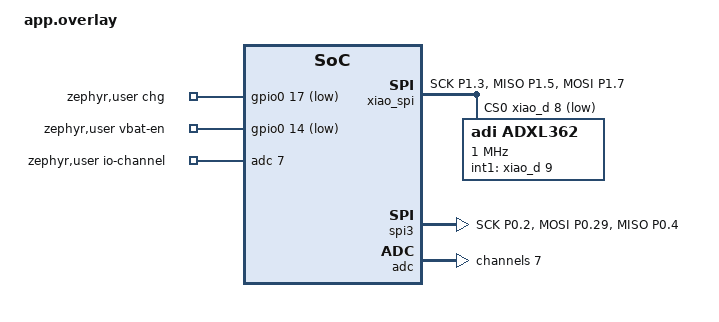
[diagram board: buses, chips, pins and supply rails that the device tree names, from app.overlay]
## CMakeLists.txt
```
cmake_minimum_required(VERSION 3.20.0)

if(NOT EXISTS ${CMAKE_CURRENT_LIST_DIR}/../common/keys.h)
  message(FATAL_ERROR "common/keys.h is missing: run scripts/gen_keys.py first")
endif()

# Flash through the XIAO's UF2 bootloader (double-tap reset first) instead of a J-Link.
# The board file expects the Sense bootloader ID; the XIAO nRF52840 Plus reports this one.
set(BOARD_FLASH_RUNNER uf2)
macro(app_set_runner_args)
  board_runner_args(uf2 "--board-id=nRF52840-SeeedXiao-v1")
endmacro()

find_package(Zephyr REQUIRED HINTS $ENV{ZEPHYR_BASE})
project(pke_fob)

target_sources(app PRIVATE
  src/main.c
  src/motion.c
  src/battery.c
  ../common/pke_crypto.c
  ../common/boot_led.c
)
target_include_directories(app PRIVATE ../common)
```

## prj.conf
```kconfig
CONFIG_LOG=y
CONFIG_MAIN_STACK_SIZE=4096

# ADXL362 motion switch on SPI, System OFF after 1 min at rest (motion.c)
CONFIG_SPI=y
CONFIG_GPIO=y
CONFIG_POWEROFF=y

# Battery voltage on AIN7 (battery.c)
CONFIG_ADC=y

# Bluetooth: connectable peripheral advertising with a rotating RPA (step 2)
CONFIG_BT=y
CONFIG_BT_PERIPHERAL=y
CONFIG_BT_DEVICE_NAME="PKE fob"
CONFIG_BT_MAX_CONN=1
CONFIG_BT_PRIVACY=y
# Short rotation period to exercise RPA resolution during testing; the default is 900 s.
CONFIG_BT_RPA_TIMEOUT=60

# LE Secure Connections Just Works, no bonding: encryption only, the app does the auth (step 3)
CONFIG_BT_SMP=y
CONFIG_BT_BONDABLE=n

# Room for the 49-byte FOB_PROOF notification
CONFIG_BT_L2CAP_TX_MTU=247
CONFIG_BT_BUF_ACL_RX_SIZE=251
CONFIG_BT_BUF_ACL_TX_SIZE=251

# PSA crypto on CryptoCell-310
CONFIG_PSA_CRYPTO=y
CONFIG_PSA_WANT_GENERATE_RANDOM=y
CONFIG_PSA_WANT_ALG_SHA_256=y
CONFIG_PSA_WANT_ALG_HMAC=y
CONFIG_PSA_WANT_KEY_TYPE_HMAC=y
CONFIG_PSA_WANT_ALG_HKDF=y
```

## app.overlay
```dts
/*
 * Fob wiring on the carte_uwb support board, fob variant (board README "Révision C"). The UWB
 * side is the same as the car unit's, and the ADXL362 takes the car's CAN side through J1.
 * This pinout follows the board, so it must not change without a board revision:
 *   D0 DW3000 SCK     D1 DW3000 RSTn    D2 DW3000 WAKEUP   D3 DW3000 MOSI
 *   D4 DW3000 MISO    D5 DW3000 CS      D6 DW3000 IRQ
 *   D8 ADXL362 CS     D9 ADXL362 INT1 (wakes the nRF52840 from System OFF)
 *   D17/D18/D19 ADXL362 SCLK/MISO/MOSI (bottom pads, J1 pins 8/6/4)
 *   D7, D10, D14: free (P-MOS, relay and wake input are not fitted on the fob)
 * The bottom pads aren't on the xiao_d connector, so they are named by their nRF52840 pin.
 *
 * The ADXL362 node is only used for its SPI and INT1 specs: CONFIG_SENSOR stays off, so the
 * Zephyr ADXL362 driver isn't built and motion.c drives the registers itself.
 */

/* D6 carries the UWB IRQ: the console is the USB serial port, not this UART. */
&uart0 {
	status = "disabled";
};

/* D4/D5 carry the UWB MISO and CS instead of I2C. */
&i2c1 {
	status = "disabled";
};

/* ADXL362 on the bottom pads D17-D19; CS and INT1 on D8/D9, the board's J1 side. */
&xiao_spi {
	status = "okay";
	pinctrl-0 = <&spi2_adxl_default>;
	pinctrl-1 = <&spi2_adxl_sleep>;
	cs-gpios = <&xiao_d 8 GPIO_ACTIVE_LOW>;

	adxl362: adxl362@0 {
		compatible = "adi,adxl362";
		reg = <0>;
		spi-max-frequency = <1000000>;
		int1-gpios = <&xiao_d 9 GPIO_ACTIVE_HIGH>;
	};
};

/* The DW3000 has its own bus, as on the car unit. */
&spi3 {
	compatible = "nordic,nrf-spim";
	status = "okay";
	pinctrl-0 = <&spi3_uwb_default>;
	pinctrl-1 = <&spi3_uwb_sleep>;
	pinctrl-names = "default", "sleep";
	cs-gpios = <&xiao_d 5 GPIO_ACTIVE_LOW>;

	/* No driver yet (Qorvo SDK, as in BLEUWB): the node only records the wiring. */
	dw3000: dw3000@0 {
		compatible = "qorvo,dw3000";
		reg = <0>;
		/* Up to 38 MHz per the datasheet, 32 MHz on SPIM3; start slow and raise it once ranging works. */
		spi-max-frequency = <8000000>;
		/* Active high, the only polarity that works in SLEEP/DEEPSLEEP. */
		irq-gpios = <&xiao_d 6 (GPIO_ACTIVE_HIGH | GPIO_PULL_DOWN)>;
		/* Pull low to reset, then release: never drive it high. */
		reset-gpios = <&xiao_d 1 (GPIO_ACTIVE_LOW | GPIO_OPEN_DRAIN)>;
		wakeup-gpios = <&xiao_d 2 GPIO_ACTIVE_HIGH>;
		status = "disabled";
	};
};

&pinctrl {
	spi2_adxl_default: spi2_adxl_default {
		group1 {
			psels = <NRF_PSEL(SPIM_SCK, 1, 3)>,
				<NRF_PSEL(SPIM_MISO, 1, 5)>,
				<NRF_PSEL(SPIM_MOSI, 1, 7)>;
		};
	};

	spi2_adxl_sleep: spi2_adxl_sleep {
		group1 {
			psels = <NRF_PSEL(SPIM_SCK, 1, 3)>,
				<NRF_PSEL(SPIM_MISO, 1, 5)>,
				<NRF_PSEL(SPIM_MOSI, 1, 7)>;
			low-power-enable;
		};
	};

	spi3_uwb_default: spi3_uwb_default {
		group1 {
			psels = <NRF_PSEL(SPIM_SCK, 0, 2)>,
				<NRF_PSEL(SPIM_MOSI, 0, 29)>,
				<NRF_PSEL(SPIM_MISO, 0, 4)>;
		};
	};

	spi3_uwb_sleep: spi3_uwb_sleep {
		group1 {
			psels = <NRF_PSEL(SPIM_SCK, 0, 2)>,
				<NRF_PSEL(SPIM_MOSI, 0, 29)>,
				<NRF_PSEL(SPIM_MISO, 0, 4)>;
			low-power-enable;
		};
	};
};

/*
 * Onboard LiPo charger (Seeed XIAO nRF52840 schematic, not in the Zephyr board files):
 *   P0.17 BQ25101 CHG, low while charging
 *   P0.14 low switches on the 1M/510k divider from BAT+ to P0.31 (AIN7)
 */
/ {
	zephyr,user {
		chg-gpios = <&gpio0 17 (GPIO_ACTIVE_LOW | GPIO_PULL_UP)>;
		vbat-en-gpios = <&gpio0 14 GPIO_ACTIVE_LOW>;
		io-channels = <&adc 7>;
	};
};

&adc {
	#address-cells = <1>;
	#size-cells = <0>;

	channel@7 {
		reg = <7>;
		zephyr,gain = "ADC_GAIN_1_6";
		zephyr,reference = "ADC_REF_INTERNAL";
		zephyr,acquisition-time = <ADC_ACQ_TIME(ADC_ACQ_TIME_MICROSECONDS, 40)>;
		zephyr,input-positive = <NRF_SAADC_AIN7>;
		zephyr,resolution = <12>;
	};
};
```

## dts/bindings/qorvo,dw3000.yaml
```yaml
# Local binding until the DW3000 driver (Qorvo SDK, as in BLEUWB) is brought in.
description: Qorvo DW3000 UWB transceiver (UWB3000F00 module)

compatible: "qorvo,dw3000"

include: spi-device.yaml

properties:
  irq-gpios:
    type: phandle-array
    required: true
    description: IRQ output, active high.

  reset-gpios:
    type: phandle-array
    required: true
    description: RSTn, open drain. Pulled low to reset, then released; never driven high.

  wakeup-gpios:
    type: phandle-array
    description: WAKEUP input, optional. Holding CS low ~500 us also leaves DEEPSLEEP.
```

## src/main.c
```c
/*
 * PKE fob: advertises with a resolvable private address built from the
 * enrolled IRK and answers the car's challenge-response over an encrypted link.
 *
 * Bluetooth callbacks only queue events; the crypto and the replies run in the
 * main thread, which owns all the state below.
 *
 * One minute without motion (motion.c) stops advertising and puts the fob in
 * System OFF; the next movement wakes it, and it boots and advertises again.
 * With a car connected the fob waits twice as long at rest, then disconnects
 * cleanly before powering off. While the car reports it is being driven, the
 * fob never sleeps: it stays linked on the slow link the car sets up.
 */
#include <errno.h>
#include <string.h>

#include <zephyr/kernel.h>
#include <zephyr/logging/log.h>
#include <zephyr/version.h>
#include <zephyr/bluetooth/bluetooth.h>
#include <zephyr/bluetooth/conn.h>
#include <zephyr/bluetooth/gatt.h>

#include "keys.h"
#include "battery.h"
#include "boot_led.h"
#include "motion.h"
#include "pke_crypto.h"
#include "pke_protocol.h"

LOG_MODULE_REGISTER(fob, LOG_LEVEL_INF);

/* A car that has not finished mutual auth this long after connecting is dropped. */
#define AUTH_TIMEOUT_MS 5000

/* Rest needed to power off with a car connected, instead of MOTION_IDLE_TIMEOUT_S. */
#define CONN_IDLE_TIMEOUT_S (2 * MOTION_IDLE_TIMEOUT_S)

/* ~250 ms advertising interval, in 0.625 ms units. */
#define ADV_INTERVAL_MIN 0x0190
#define ADV_INTERVAL_MAX 0x01a0

#if ZEPHYR_VERSION_CODE >= ZEPHYR_VERSION(4, 0, 0)
#define ADV_OPT_CONN BT_LE_ADV_OPT_CONN
#else
#define ADV_OPT_CONN BT_LE_ADV_OPT_CONNECTABLE
#endif

enum fob_state {
	FOB_IDLE,
	FOB_WAIT_HELLO,
	FOB_WAIT_CAR_PROOF,
	FOB_AUTHED,
};

enum fob_event {
	FOB_EV_CONNECTED,
	FOB_EV_DISCONNECTED,
	FOB_EV_RECYCLED,
	FOB_EV_WRITE,
	FOB_EV_IDLE,
};

struct fob_msg {
	uint8_t event;
	uint8_t len;
	uint8_t data[PKE_MSG_MAX_LEN];
};

K_MSGQ_DEFINE(fob_q, sizeof(struct fob_msg), 8, 4);

static struct bt_conn *cur_conn;
static enum fob_state state;
static int64_t auth_deadline;
/* Set when idleness dropped the link: System OFF follows the disconnect. */
static bool poweroff_pending;
/* Set by the car's DRIVE message: a fob at rest in a moving car keeps the link. */
static bool driving;
static uint8_t nonce_c[PKE_NONCE_LEN];
static uint8_t nonce_f[PKE_NONCE_LEN];
static uint8_t session_key[PKE_KEY_LEN];

static const struct bt_data ad[] = {
	BT_DATA_BYTES(BT_DATA_FLAGS, (BT_LE_AD_GENERAL | BT_LE_AD_NO_BREDR)),
};

static void post_event(uint8_t event)
{
	struct fob_msg msg = {.event = event};

	if (k_msgq_put(&fob_q, &msg, K_NO_WAIT)) {
		LOG_ERR("event queue full, event %u lost", event);
	}
}

static ssize_t auth_write(struct bt_conn *conn, const struct bt_gatt_attr *attr, const void *buf,
			  uint16_t len, uint16_t offset, uint8_t flags)
{
	struct fob_msg msg = {.event = FOB_EV_WRITE, .len = len};

	if (offset) {
		return BT_GATT_ERR(BT_ATT_ERR_INVALID_OFFSET);
	}
	if (len == 0 || len > sizeof(msg.data)) {
		return BT_GATT_ERR(BT_ATT_ERR_INVALID_ATTRIBUTE_LEN);
	}
	memcpy(msg.data, buf, len);
	if (k_msgq_put(&fob_q, &msg, K_NO_WAIT)) {
		return BT_GATT_ERR(BT_ATT_ERR_UNLIKELY);
	}
	return len;
}

/* Writes and the CCC both require an encrypted link. */
BT_GATT_SERVICE_DEFINE(pke_svc,
	BT_GATT_PRIMARY_SERVICE(PKE_SVC_UUID),
	BT_GATT_CHARACTERISTIC(PKE_AUTH_UUID, BT_GATT_CHRC_WRITE | BT_GATT_CHRC_NOTIFY,
			       BT_GATT_PERM_WRITE_ENCRYPT, NULL, auth_write, NULL),
	BT_GATT_CCC(NULL, BT_GATT_PERM_READ | BT_GATT_PERM_WRITE_ENCRYPT));

static void connected(struct bt_conn *conn, uint8_t err)
{
	if (err) {
		return;
	}
	cur_conn = bt_conn_ref(conn);
	post_event(FOB_EV_CONNECTED);
}

static void disconnected(struct bt_conn *conn, uint8_t reason)
{
	LOG_INF("disconnected (reason 0x%02x)", reason);
	post_event(FOB_EV_DISCONNECTED);
}

static void recycled(void)
{
	post_event(FOB_EV_RECYCLED);
}

static void motion_idle(void)
{
	post_event(FOB_EV_IDLE);
}

static void security_changed(struct bt_conn *conn, bt_security_t level, enum bt_security_err err)
{
	if (err) {
		LOG_WRN("encryption failed (err %d)", err);
	} else {
		LOG_INF("link encrypted (L%d)", level);
	}
}

BT_CONN_CB_DEFINE(conn_callbacks) = {
	.connected = connected,
	.disconnected = disconnected,
	.recycled = recycled,
	.security_changed = security_changed,
};

static void advertise(void)
{
	int err = bt_le_adv_start(BT_LE_ADV_PARAM(ADV_OPT_CONN, ADV_INTERVAL_MIN, ADV_INTERVAL_MAX,
						  NULL),
				  ad, ARRAY_SIZE(ad), NULL, 0);

	if (err && err != -EALREADY) {
		LOG_ERR("advertising failed (err %d)", err);
		return;
	}
	LOG_INF("advertising (RPA, rotates every %d s)", CONFIG_BT_RPA_TIMEOUT);
}

static void notify(const uint8_t *msg, uint16_t len)
{
	int err = bt_gatt_notify(cur_conn, &pke_svc.attrs[1], msg, len);

	if (err) {
		LOG_WRN("notify failed (err %d)", err);
	}
}

static void drop_link(void)
{
	state = FOB_IDLE;
	bt_conn_disconnect(cur_conn, BT_HCI_ERR_REMOTE_USER_TERM_CONN);
}

static void on_hello(const uint8_t *nonce)
{
	uint8_t rsp[PKE_FOB_PROOF_LEN] = {PKE_MSG_FOB_PROOF};

	memcpy(nonce_c, nonce, PKE_NONCE_LEN);
	if (pke_random(nonce_f, PKE_NONCE_LEN) ||
	    pke_proof(PKE_LABEL_FOB, nonce_c, nonce_f, rsp + 1 + PKE_NONCE_LEN)) {
		LOG_ERR("crypto failure building FOB_PROOF");
		drop_link();
		return;
	}
	memcpy(rsp + 1, nonce_f, PKE_NONCE_LEN);

	LOG_INF("HELLO received, sending FOB_PROOF");
	state = FOB_WAIT_CAR_PROOF;
	notify(rsp, sizeof(rsp));
}

static void on_car_proof(const uint8_t *mac)
{
	uint8_t ack[PKE_ACK_LEN] = {PKE_MSG_ACK, PKE_STATUS_OK};
	int err;

	err = pke_proof_verify(PKE_LABEL_CAR, nonce_c, nonce_f, mac);
	if (!err) {
		err = pke_session_key(nonce_c, nonce_f, session_key);
	}
	if (err) {
		LOG_WRN("car proof rejected (err %d), dropping link", err);
		ack[1] = PKE_STATUS_FAIL;
		notify(ack, sizeof(ack));
		drop_link();
		return;
	}

	state = FOB_AUTHED;
	LOG_INF("auth OK, session key id=%08x", pke_key_id(session_key));
	notify(ack, sizeof(ack));
}

static void on_range_req(const uint8_t *nonce_r)
{
	uint8_t ack[PKE_RANGE_ACK_LEN] = {PKE_MSG_RANGE_ACK, PKE_STATUS_OK};
	uint8_t sts_key[PKE_KEY_LEN];

	if (pke_sts_key(session_key, nonce_r, sts_key)) {
		LOG_ERR("STS key derivation failed");
		ack[1] = PKE_STATUS_FAIL;
		notify(ack, sizeof(ack));
		return;
	}
	LOG_INF("RANGE_REQ received, sts key id=%08x", pke_key_id(sts_key));
	notify(ack, sizeof(ack));

	/*
	 * Step 7, fob side. Later: power up the DW3000, answer 3-5 DS-TWR rounds
	 * with the STS seeded from sts_key, then power it down.
	 */
	LOG_INF("UWB stub: would power DW3000, run 3-5 DS-TWR rounds, power down");
	memset(sts_key, 0, sizeof(sts_key));
}

static void on_drive(uint8_t on)
{
	uint8_t ack[PKE_ACK_LEN] = {PKE_MSG_ACK, PKE_STATUS_OK};

	driving = on;
	LOG_INF("car %s", driving ? "driving, sleep suspended" : "parked, sleep allowed");
	notify(ack, sizeof(ack));
}

static void on_write(const uint8_t *data, uint8_t len)
{
	if (state == FOB_IDLE) {
		return;
	}
	if (state == FOB_WAIT_HELLO && data[0] == PKE_MSG_HELLO && len == PKE_HELLO_LEN) {
		on_hello(data + 1);
	} else if (state == FOB_WAIT_CAR_PROOF && data[0] == PKE_MSG_CAR_PROOF &&
		   len == PKE_CAR_PROOF_LEN) {
		on_car_proof(data + 1);
	} else if (state == FOB_AUTHED && data[0] == PKE_MSG_RANGE_REQ &&
		   len == PKE_RANGE_REQ_LEN) {
		on_range_req(data + 1);
	} else if (state == FOB_AUTHED && data[0] == PKE_MSG_DRIVE && len == PKE_DRIVE_LEN) {
		on_drive(data[1]);
	} else {
		LOG_WRN("unexpected message 0x%02x (len %u) in state %d, dropping link", data[0],
			len, state);
		drop_link();
	}
}

int main(void)
{
	bt_addr_le_t id_addr = {.type = BT_ADDR_LE_RANDOM, .a.val = PKE_FOB_ID_ADDR_INIT};
	uint8_t irk[16] = PKE_FOB_IRK_INIT;
	char addr_str[BT_ADDR_LE_STR_LEN];
	struct fob_msg msg;
	int err;

	boot_led_play();
	err = pke_crypto_init();
	if (err) {
		LOG_ERR("crypto init failed (err %d)", err);
		return 0;
	}

	/* Step 1: the identity created before bt_enable() becomes the default one, with our IRK. */
	err = bt_id_create(&id_addr, irk);
	if (err < 0) {
		LOG_ERR("identity create failed (err %d)", err);
		return 0;
	}
	err = bt_enable(NULL);
	if (err) {
		LOG_ERR("bluetooth init failed (err %d)", err);
		return 0;
	}
	bt_addr_le_to_str(&id_addr, addr_str, sizeof(addr_str));
	LOG_INF("fob ready, identity %s", addr_str);
	battery_log_state();
	err = motion_init(motion_idle);
	if (err) {
		LOG_ERR("motion sensor init failed (err %d), fob will never sleep", err);
	}
	advertise();

	for (;;) {
		k_timeout_t timeout = K_FOREVER;

		if (state == FOB_WAIT_HELLO || state == FOB_WAIT_CAR_PROOF) {
			timeout = K_MSEC(MAX(auth_deadline - k_uptime_get(), 0));
		}
		if (k_msgq_get(&fob_q, &msg, timeout)) {
			LOG_WRN("car did not authenticate within %d ms, dropping link",
				AUTH_TIMEOUT_MS);
			drop_link();
			continue;
		}

		switch (msg.event) {
		case FOB_EV_CONNECTED:
			bt_addr_le_to_str(bt_conn_get_dst(cur_conn), addr_str, sizeof(addr_str));
			LOG_INF("car connected (%s)", addr_str);
			state = FOB_WAIT_HELLO;
			auth_deadline = k_uptime_get() + AUTH_TIMEOUT_MS;
			break;
		case FOB_EV_DISCONNECTED:
			bt_conn_unref(cur_conn);
			cur_conn = NULL;
			state = FOB_IDLE;
			driving = false;
			memset(session_key, 0, sizeof(session_key));
			if (poweroff_pending) {
				bt_le_adv_stop();
				motion_poweroff();
			}
			break;
		case FOB_EV_RECYCLED:
			advertise();
			break;
		case FOB_EV_WRITE:
			on_write(msg.data, msg.len);
			break;
		case FOB_EV_IDLE:
			/* A fob still moving isn't idle, and neither is one in a car being driven. */
			if (motion_active() || driving) {
				motion_defer();
				break;
			}
			if (cur_conn) {
				/* A live session gets a longer rest, then ends cleanly before sleeping. */
				if (motion_rest_ms() < CONN_IDLE_TIMEOUT_S * MSEC_PER_SEC) {
					motion_defer();
					break;
				}
				LOG_INF("at rest for %d s with a car connected, disconnecting",
					CONN_IDLE_TIMEOUT_S);
				poweroff_pending = true;
				drop_link();
				break;
			}
			bt_le_adv_stop();
			motion_poweroff();
			break;
		}
	}
}
```

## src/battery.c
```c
/*
 * The XIAO's BQ25101 pulls CHG low while it charges the cell. Its STAT line
 * stays high both when charging is done and when there is no USB power, so a
 * high pin alone can't tell those apart; the voltage gives the rest.
 *
 * BAT+ reaches AIN7 through a 1M/510k divider, which P0.14 switches on.
 */
#include <zephyr/kernel.h>
#include <zephyr/drivers/adc.h>
#include <zephyr/drivers/gpio.h>
#include <zephyr/logging/log.h>

#include "battery.h"

LOG_MODULE_REGISTER(battery, LOG_LEVEL_INF);

#define USER_NODE DT_PATH(zephyr_user)

/* Divider ratio (1M + 510k) / 510k, as numerator and denominator. */
#define DIVIDER_NUM 1510
#define DIVIDER_DEN 510

static const struct gpio_dt_spec chg = GPIO_DT_SPEC_GET(USER_NODE, chg_gpios);
static const struct gpio_dt_spec vbat_en = GPIO_DT_SPEC_GET(USER_NODE, vbat_en_gpios);
static const struct adc_dt_spec vbat = ADC_DT_SPEC_GET(USER_NODE);

static int read_vbat_mv(int32_t *mv)
{
	int16_t raw;
	struct adc_sequence seq = {
		.buffer = &raw,
		.buffer_size = sizeof(raw),
	};
	int err;

	err = adc_channel_setup_dt(&vbat);
	if (err) {
		return err;
	}
	adc_sequence_init_dt(&vbat, &seq);

	err = gpio_pin_configure_dt(&vbat_en, GPIO_OUTPUT_ACTIVE);
	if (err) {
		return err;
	}
	/* Let the high-impedance divider settle on the sampling cap. */
	k_msleep(1);
	err = adc_read_dt(&vbat, &seq);
	gpio_pin_configure_dt(&vbat_en, GPIO_INPUT);
	if (err) {
		return err;
	}

	*mv = raw;
	err = adc_raw_to_millivolts_dt(&vbat, mv);
	if (err) {
		return err;
	}
	*mv = *mv * DIVIDER_NUM / DIVIDER_DEN;
	return 0;
}

void battery_log_state(void)
{
	int32_t mv;
	int charging;
	int err;

	err = gpio_pin_configure_dt(&chg, GPIO_INPUT);
	charging = err ? err : gpio_pin_get_dt(&chg);
	gpio_pin_configure_dt(&chg, GPIO_DISCONNECTED);

	err = read_vbat_mv(&mv);
	if (err) {
		LOG_ERR("battery read failed (err %d), charging %d", err, charging);
		return;
	}
	LOG_INF("battery %d mV, %s", mv, charging > 0 ? "charging" : "not charging");
}
```

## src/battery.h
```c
/* Onboard LiPo: charger status and cell voltage, read once for the boot log. */
#ifndef BATTERY_H
#define BATTERY_H

/*
 * Logs whether the BQ25101 is charging and the cell voltage. The voltage
 * divider is switched on only for the reading, so it draws nothing in sleep.
 */
void battery_log_state(void);

#endif /* BATTERY_H */
```

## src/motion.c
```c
/*
 * ADXL362 motion switch over raw SPI registers.
 *
 * The chip runs in wake-up mode (~270 nA, ~6 samples/s) with referenced
 * activity and inactivity detection in loop mode, and the AWAKE bit mapped to
 * INT1: INT1 goes high when the fob starts moving and low a few seconds after
 * it stops. Loop mode acknowledges the interrupts itself, so nothing has to
 * read STATUS, and the chip keeps doing this while the nRF52840 is in System OFF.
 */
#include <errno.h>

#include <zephyr/drivers/gpio.h>
#include <zephyr/drivers/spi.h>
#include <zephyr/kernel.h>
#include <zephyr/logging/log.h>
#include <zephyr/logging/log_ctrl.h>
#include <zephyr/sys/byteorder.h>
#include <zephyr/sys/poweroff.h>

#include "motion.h"

LOG_MODULE_REGISTER(motion, LOG_LEVEL_INF);

#define ADXL_CMD_WRITE 0x0A
#define ADXL_CMD_READ 0x0B

#define ADXL_REG_DEVID_AD 0x00
#define ADXL_REG_PARTID 0x02
#define ADXL_REG_XDATA_L 0x0E
#define ADXL_REG_SOFT_RESET 0x1F
#define ADXL_REG_THRESH_ACT_L 0x20
#define ADXL_REG_THRESH_INACT_L 0x23
#define ADXL_REG_TIME_INACT_L 0x25
#define ADXL_REG_ACT_INACT_CTL 0x27
#define ADXL_REG_INTMAP1 0x2A
#define ADXL_REG_POWER_CTL 0x2D

#define ADXL_DEVID_AD 0xAD
#define ADXL_PARTID 0xF2
#define ADXL_RESET_KEY 0x52

/* ACT_EN | ACT_REF | INACT_EN | INACT_REF | LINKLOOP = loop. */
#define ADXL_ACT_INACT_LOOP 0x3F
#define ADXL_INTMAP_AWAKE 0x40
/* WAKEUP | MEASURE = measurement. */
#define ADXL_POWER_WAKEUP_MEASURE 0x0A

/* In mg at the default ±2 g range (1 mg/LSB): above 250 mg is motion, under 150 mg is rest. */
#define ACT_THRESHOLD_MG 250
#define INACT_THRESHOLD_MG 150
/* Samples of rest before INT1 drops, ~5 s at the wake-up mode rate. */
#define INACT_SAMPLES 30

#define ADXL_NODE DT_NODELABEL(adxl362)

static const struct spi_dt_spec adxl_spi =
	SPI_DT_SPEC_GET(ADXL_NODE, SPI_OP_MODE_MASTER | SPI_WORD_SET(8) | SPI_TRANSFER_MSB);
static const struct gpio_dt_spec int1 = GPIO_DT_SPEC_GET(ADXL_NODE, int1_gpios);

static struct gpio_callback int1_cb;
static void (*idle_handler)(void);
/* Uptime of the last INT1 edge, or of motion_init() before the first one. */
static int64_t last_edge_ms;

static void idle_expired(struct k_work *work)
{
	idle_handler();
}

static K_WORK_DELAYABLE_DEFINE(idle_work, idle_expired);

static int adxl_write(uint8_t reg, const uint8_t *val, size_t len)
{
	uint8_t hdr[2] = {ADXL_CMD_WRITE, reg};
	const struct spi_buf bufs[] = {
		{.buf = hdr, .len = sizeof(hdr)},
		{.buf = (void *)val, .len = len},
	};
	const struct spi_buf_set tx = {.buffers = bufs, .count = ARRAY_SIZE(bufs)};

	return spi_write_dt(&adxl_spi, &tx);
}

static int adxl_write_u8(uint8_t reg, uint8_t val)
{
	return adxl_write(reg, &val, 1);
}

/* 11-bit threshold or 16-bit time, low byte first. */
static int adxl_write_u16(uint8_t reg, uint16_t val)
{
	uint8_t le[2] = {val & 0xff, val >> 8};

	return adxl_write(reg, le, sizeof(le));
}

static int adxl_read(uint8_t reg, uint8_t *val, size_t len)
{
	uint8_t hdr[2] = {ADXL_CMD_READ, reg};
	const struct spi_buf tx_buf = {.buf = hdr, .len = sizeof(hdr)};
	const struct spi_buf rx_bufs[] = {
		{.buf = NULL, .len = sizeof(hdr)},
		{.buf = val, .len = len},
	};
	const struct spi_buf_set tx = {.buffers = &tx_buf, .count = 1};
	const struct spi_buf_set rx = {.buffers = rx_bufs, .count = ARRAY_SIZE(rx_bufs)};

	return spi_transceive_dt(&adxl_spi, &tx, &rx);
}

static int adxl_read_u8(uint8_t reg, uint8_t *val)
{
	return adxl_read(reg, val, 1);
}

static int adxl_configure(void)
{
	uint8_t devid, partid;
	int err;

	/* Start from reset values whether this is a cold boot or a wake from System OFF. */
	err = adxl_write_u8(ADXL_REG_SOFT_RESET, ADXL_RESET_KEY);
	if (err) {
		return err;
	}
	k_msleep(1);

	err = adxl_read_u8(ADXL_REG_DEVID_AD, &devid);
	if (!err) {
		err = adxl_read_u8(ADXL_REG_PARTID, &partid);
	}
	if (err) {
		return err;
	}
	if (devid != ADXL_DEVID_AD || partid != ADXL_PARTID) {
		LOG_ERR("no ADXL362 (id %02x/%02x)", devid, partid);
		return -ENODEV;
	}

	err = adxl_write_u16(ADXL_REG_THRESH_ACT_L, ACT_THRESHOLD_MG);
	if (!err) {
		err = adxl_write_u16(ADXL_REG_THRESH_INACT_L, INACT_THRESHOLD_MG);
	}
	if (!err) {
		err = adxl_write_u16(ADXL_REG_TIME_INACT_L, INACT_SAMPLES);
	}
	if (!err) {
		err = adxl_write_u8(ADXL_REG_ACT_INACT_CTL, ADXL_ACT_INACT_LOOP);
	}
	if (!err) {
		err = adxl_write_u8(ADXL_REG_INTMAP1, ADXL_INTMAP_AWAKE);
	}
	if (!err) {
		/* Last: measurement starts with everything above in place. */
		err = adxl_write_u8(ADXL_REG_POWER_CTL, ADXL_POWER_WAKEUP_MEASURE);
	}
	return err;
}

/*
 * Debug: while INT1 stays high, reads XYZ every 50 ms (faster than the ~6 Hz
 * wake-up rate, so every chip sample is seen) and logs each axis' min/max once
 * a second. A span above INACT_THRESHOLD_MG restarts the chip's inactivity count.
 */
#define DUMP_PERIOD_MS 50
#define DUMP_READS 20

static void dump_expired(struct k_work *work);
static K_WORK_DELAYABLE_DEFINE(dump_work, dump_expired);

static void dump_expired(struct k_work *work)
{
	static int16_t lo[3], hi[3];
	static int reads;
	uint8_t raw[6];

	if (gpio_pin_get_dt(&int1) <= 0) {
		reads = 0;
		return;
	}
	if (!adxl_read(ADXL_REG_XDATA_L, raw, sizeof(raw))) {
		for (int i = 0; i < 3; i++) {
			int16_t v = sys_get_le16(&raw[2 * i]);

			if (reads == 0 || v < lo[i]) {
				lo[i] = v;
			}
			if (reads == 0 || v > hi[i]) {
				hi[i] = v;
			}
		}
		if (++reads == DUMP_READS) {
			LOG_INF("x %d..%d (%d) y %d..%d (%d) z %d..%d (%d) mg",
				lo[0], hi[0], hi[0] - lo[0], lo[1], hi[1], hi[1] - lo[1],
				lo[2], hi[2], hi[2] - lo[2]);
			reads = 0;
		}
	}
	k_work_reschedule(&dump_work, K_MSEC(DUMP_PERIOD_MS));
}

/* Both edges count: the fob starting to move, and coming to rest. */
static void int1_isr(const struct device *dev, struct gpio_callback *cb, uint32_t pins)
{
	last_edge_ms = k_uptime_get();
	LOG_INF("ADXL362 INT1: %s", gpio_pin_get_dt(&int1) > 0 ? "moving" : "at rest");
	k_work_reschedule(&dump_work, K_NO_WAIT);
	k_work_reschedule(&idle_work, K_SECONDS(MOTION_IDLE_TIMEOUT_S));
}

int motion_init(void (*on_idle)(void))
{
	int err;

	if (!spi_is_ready_dt(&adxl_spi) || !gpio_is_ready_dt(&int1)) {
		return -ENODEV;
	}
	err = adxl_configure();
	if (err) {
		return err;
	}

	err = gpio_pin_configure_dt(&int1, GPIO_INPUT);
	if (err) {
		return err;
	}
	gpio_init_callback(&int1_cb, int1_isr, BIT(int1.pin));
	err = gpio_add_callback_dt(&int1, &int1_cb);
	if (!err) {
		err = gpio_pin_interrupt_configure_dt(&int1, GPIO_INT_EDGE_BOTH);
	}
	if (err) {
		return err;
	}

	idle_handler = on_idle;
	last_edge_ms = k_uptime_get();
	k_work_reschedule(&idle_work, K_SECONDS(MOTION_IDLE_TIMEOUT_S));
	LOG_INF("ADXL362 motion switch on, System OFF after %d s at rest",
		MOTION_IDLE_TIMEOUT_S);
	return 0;
}

bool motion_active(void)
{
	return gpio_pin_get_dt(&int1) > 0;
}

int64_t motion_rest_ms(void)
{
	return k_uptime_get() - last_edge_ms;
}

void motion_defer(void)
{
	k_work_reschedule(&idle_work, K_SECONDS(MOTION_IDLE_TIMEOUT_S));
}

void motion_poweroff(void)
{
	/* A level interrupt sets the pin's SENSE, which is what wakes the chip from System OFF. */
	gpio_pin_interrupt_configure_dt(&int1, GPIO_INT_LEVEL_ACTIVE);
	LOG_INF("at rest for %lld s, entering System OFF", motion_rest_ms() / MSEC_PER_SEC);
	LOG_PANIC();
	sys_poweroff();
}
```

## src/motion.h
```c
/* Motion sleep: the ADXL362 keeps the fob awake while it moves, System OFF otherwise. */
#ifndef MOTION_H
#define MOTION_H

#include <stdbool.h>
#include <stdint.h>

/* No ADXL362 interrupt for this long puts the fob in System OFF. */
#define MOTION_IDLE_TIMEOUT_S 60

/*
 * Configures the ADXL362 as an autonomous motion switch and starts the idle
 * timer. on_idle runs from the system workqueue once no interrupt has come for
 * MOTION_IDLE_TIMEOUT_S. Returns 0, or a negative errno if the chip doesn't
 * answer: the fob must then never power off, since nothing could wake it.
 */
int motion_init(void (*on_idle)(void));

/* True while the ADXL362 reports the fob as moving (INT1 high). */
bool motion_active(void);

/* Milliseconds since the ADXL362 last changed state (started or stopped moving). */
int64_t motion_rest_ms(void);

/* Restarts the idle timer, for when the caller isn't ready to sleep yet. */
void motion_defer(void);

/* Enters System OFF; INT1 going high wakes the fob, which then reboots. Doesn't return. */
void motion_poweroff(void);

#endif /* MOTION_H */
```
